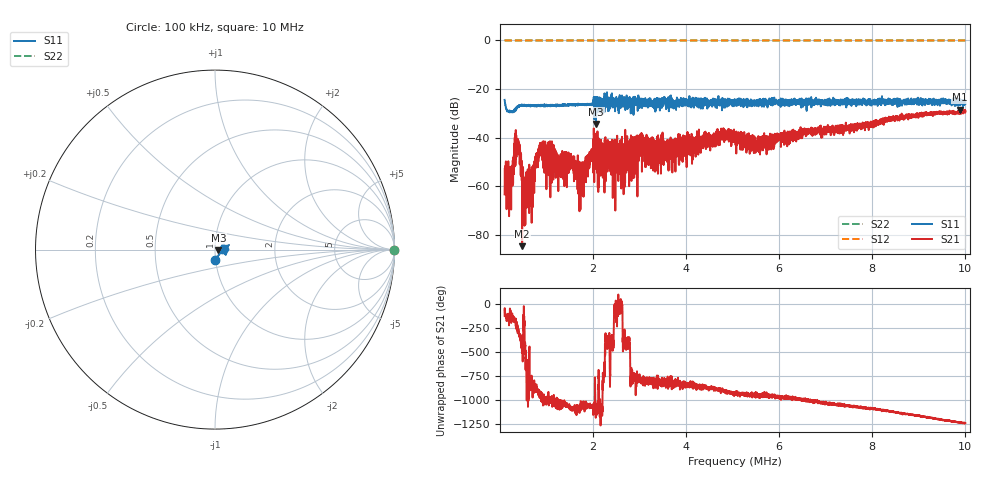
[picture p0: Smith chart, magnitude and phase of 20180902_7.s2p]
! Anritsu VNA Master:  Model: MS2026C/19
! SN:  1815009
! /card0/usr/20180902_7.s2p
! Existing Calibration Information:
! TYPE:  Current Settings,  Active Cal Settings
! TIME:  09/02/2018 12:36:35 PM,  09/02/2018 11:58:48 AM
! INTERNAL TEMP:  52.8 C,  48.8 C
! # POINTS:  4001,  4001
! START FREQ:  100.000 kHz,  100.000 kHz
! STOP FREQ:  10.000 MHz,  10.000 MHz
! SOURCE POWER:  Low,  Low
! IFBW:  500 Hz,  500 Hz
! AVG FACTOR:  1 ,  1
! REF PLANE 1:  0 mm,  0 mm
! REF PLANE 2:  0 mm,  0 mm
! CAL TYPE:  1P2P S11,S21,  1P2P S11,S21
! CAL METHOD:  SOLT,  SOLT
! CAL LINE TYPE:  Coax,  Coax
! DUT PORT 1:  N-Conn(M),  N-Conn(M)
! DUT PORT 2:  N-Conn(M),  N-Conn(M)
! CAL STATUS:  OK: Accuracy High,  --
# GHZ S RI R 50.0
! FREQ.GHZ  S11RE  S11IM  S21RE  S21IM  S12RE  S12IM  S22RE  S22IM
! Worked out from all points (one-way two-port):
!   4001 points, 100 kHz to 10 MHz, reference 50 ohm
!   highest |S21| = -28.47 dB at 9.874 MHz (marker M1); lowest = -84.6 dB at 476.2 kHz (marker M2)
!   lowest |S11| = -34.4 dB at 2.063 MHz (marker M3), VSWR 1.04, Z = 51.9 - j0.405 ohm
!   |S11| at or under -10 dB: start of sweep to end of sweep
!   |S22| runs from 0.0 to 0.0 dB; largest |S21 - S12| = 1
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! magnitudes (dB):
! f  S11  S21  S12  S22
! 100 kHz  -24.4  -63.3  0.0  0.0
! 243.6 kHz  -29.4  -54.4  0.0  0.0
! 367.3 kHz  -27.4  -43.7  0.0  0.0
! 416.8 kHz  -27.1  -44.8  0.0  0.0
! 476.2 kHz  -26.9  -84.6  0.0  0.0
! 510.9 kHz  -26.9  -56.2  0.0  0.0
! 575.2 kHz  -26.8  -62.8  0.0  0.0
! 892 kHz  -26.4  -44.7  0.0  0.0
! 1.268 MHz  -26.6  -51.8  0.0  0.0
! 1.498 MHz  -26.3  -48.2  0.0  0.0
! 1.751 MHz  -26.5  -51.5  0.0  0.0
! 2.063 MHz  -34.4  -38.6  0.0  0.0
! 2.639 MHz  -25.1  -53.4  0.0  0.0
! 3.05 MHz  -26.3  -53.9  0.0  0.0
! 3.402 MHz  -25.9  -40.0  0.0  0.0
! 4.798 MHz  -25.0  -40.8  0.0  0.0
! 5.05 MHz  -26.6  -39.6  0.0  0.0
! 5.538 MHz  -25.1  -41.8  0.0  0.0
! 6.701 MHz  -25.3  -36.8  0.0  0.0
! 8.352 MHz  -25.2  -32.4  0.0  0.0
! 9.874 MHz  -24.7  -28.5  0.0  0.0
! 10 MHz  -25.9  -29.3  0.0  0.0
